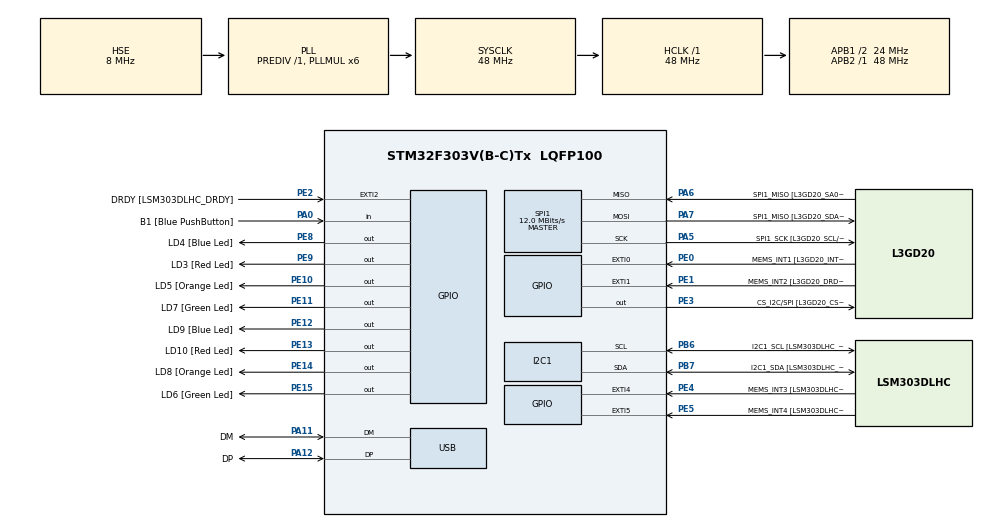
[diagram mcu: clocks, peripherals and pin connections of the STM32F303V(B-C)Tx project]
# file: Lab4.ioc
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I2C1.Timing=0x00201D2B
I2C1.Timing-I2C=0x2000090E
Mcu.Family=STM32F3
Mcu.Name=STM32F303V(B-C)Tx
Mcu.Package=LQFP100
NVIC.PriorityGroup=NVIC_PRIORITYGROUP_0
NVIC.TIM2_IRQn=true\:0\:0\:false\:false\:true\:true\:true\:true
PA0.GPIO_Label=B1 [Blue PushButton]
PA0.Signal=GPIO_Input
PA11.GPIO_Label=DM
PA11.Mode=Device
PA11.Signal=USB_DM
PA12.GPIO_Label=DP
PA12.Mode=Device
PA12.Signal=USB_DP
PA13.GPIO_Label=SWDIO
PA13.Mode=Serial_Wire
PA13.Signal=SYS_JTMS-SWDIO
PA14.GPIO_Label=SWCLK
PA14.Mode=Serial_Wire
PA14.Signal=SYS_JTCK-SWCLK
PA5.GPIO_Label=SPI1_SCK [L3GD20_SCL/SPC]
PA5.Mode=Full_Duplex_Master
PA5.Signal=SPI1_SCK
PA6.GPIO_Label=SPI1_MISO [L3GD20_SA0/SDO]
PA6.Mode=Full_Duplex_Master
PA6.Signal=SPI1_MISO
PA7.GPIO_Label=SPI1_MISO [L3GD20_SDA/SDI/SDO]
PA7.Mode=Full_Duplex_Master
PA7.Signal=SPI1_MOSI
PB3.GPIO_Label=SWO
PB3.Signal=SYS_JTDO-TRACESWO
PB6.GPIO_Label=I2C1_SCL [LSM303DLHC_SCL]
PB6.GPIO_Pu=GPIO_PULLUP
PB6.Mode=I2C
PB6.Signal=I2C1_SCL
PB7.GPIO_Label=I2C1_SDA [LSM303DLHC_SDA]
PB7.GPIO_Pu=GPIO_PULLUP
PB7.Mode=I2C
PB7.Signal=I2C1_SDA
PC14-OSC32_IN.GPIO_Label=OSC32_IN
PC14-OSC32_IN.Signal=RCC_OSC32_IN
PC15-OSC32_OUT.GPIO_Label=OSC32_OUT
PC15-OSC32_OUT.Signal=RCC_OSC32_OUT
PE0.GPIO_Label=MEMS_INT1 [L3GD20_INT1]
PE0.GPIO_ModeDefaultEXTI=GPIO_MODE_EVT_RISING
PE0.Signal=GPXTI0
PE1.GPIO_Label=MEMS_INT2 [L3GD20_DRDY/INT2]
PE1.GPIO_ModeDefaultEXTI=GPIO_MODE_EVT_RISING
PE1.Signal=GPXTI1
PE10.GPIO_Label=LD5 [Orange Led]
PE10.Signal=GPIO_Output
PE11.GPIO_Label=LD7 [Green Led]
PE11.Signal=GPIO_Output
PE12.GPIO_Label=LD9 [Blue Led]
PE12.Signal=GPIO_Output
PE13.GPIO_Label=LD10 [Red Led]
PE13.Signal=GPIO_Output
PE14.GPIO_Label=LD8 [Orange Led]
PE14.Signal=GPIO_Output
PE15.GPIO_Label=LD6 [Green Led]
PE15.Signal=GPIO_Output
PE2.GPIO_Label=DRDY [LSM303DLHC_DRDY]
PE2.GPIO_ModeDefaultEXTI=GPIO_MODE_EVT_RISING
PE2.Signal=GPXTI2
PE3.GPIO_Label=CS_I2C/SPI [L3GD20_CS_I2C/SPI]
PE3.Signal=GPIO_Output
PE4.GPIO_Label=MEMS_INT3 [LSM303DLHC_INT1]
PE4.GPIO_ModeDefaultEXTI=GPIO_MODE_EVT_RISING
PE4.Signal=GPXTI4
PE5.GPIO_Label=MEMS_INT4 [LSM303DLHC_INT2]
PE5.GPIO_ModeDefaultEXTI=GPIO_MODE_EVT_RISING
PE5.Signal=GPXTI5
PE8.GPIO_Label=LD4 [Blue Led]
PE8.Signal=GPIO_Output
PE9.GPIO_Label=LD3 [Red Led]
PE9.Signal=GPIO_Output
PF0-OSC_IN.GPIO_Label=OSC_IN
PF0-OSC_IN.Mode=HSE-External-Clock-Source
PF0-OSC_IN.Signal=RCC_OSC_IN
PF1-OSC_OUT.GPIO_Label=OSC_OUT
PF1-OSC_OUT.Signal=RCC_OSC_OUT
ProjectManager.HeapSize=0x200
ProjectManager.StackSize=0x400
ProjectManager.TargetToolchain=CMake
RCC.AHBFreq_Value=48000000
RCC.APB1CLKDivider=RCC_HCLK_DIV2
RCC.APB1Freq_Value=24000000
RCC.APB1TimFreq_Value=48000000
RCC.APB2Freq_Value=48000000
RCC.APB2TimFreq_Value=48000000
RCC.CortexFreq_Value=48000000
RCC.HCLKFreq_Value=48000000
RCC.HSE_VALUE=8000000
RCC.HSI_VALUE=8000000
RCC.LSE_VALUE=32768
RCC.PLLMUL=RCC_PLL_MUL6
RCC.SYSCLKFreq_VALUE=48000000
RCC.SYSCLKSourceVirtual=RCC_SYSCLKSOURCE_PLLCLK
RCC.USBFreq_Value=48000000
SPI1.BaudRatePrescaler=SPI_BAUDRATEPRESCALER_4
SPI1.BaudRatePrescaler-Full_Duplex_Master=SPI_BAUDRATEPRESCALER_2
SPI1.CalculateBaudRate=12.0 MBits/s
SPI1.CalculateBaudRate-Full_Duplex_Master=24.0 MBits/s
SPI1.Direction=SPI_DIRECTION_2LINES
SPI1.Mode=SPI_MODE_MASTER
SPI1.Mode-Full_Duplex_Master=SPI_MODE_MASTER
SPI1.VirtualType=VM_MASTER
TIM2.AutoReloadPreload=TIM_AUTORELOAD_PRELOAD_ENABLE
TIM2.Period=9
TIM2.Prescaler=4799
VP_TIM2_VS_ClockSourceINT.Mode=Internal
board=STM32F3DISCOVERY

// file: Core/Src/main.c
/* USER CODE BEGIN Header */
/**
  ******************************************************************************
  * @file           : main.c
  * @brief          : Main program body
  ******************************************************************************
  * @attention
  *
  * Copyright (c) 2026 STMicroelectronics.
  * All rights reserved.
  *
  * This software is licensed under terms that can be found in the LICENSE file
  * in the root directory of this software component.
  * If no LICENSE file comes with this software, it is provided AS-IS.
  *
  ******************************************************************************
  */
/* USER CODE END Header */
#include "main.h"

I2C_HandleTypeDef hi2c1;

SPI_HandleTypeDef hspi1;

TIM_HandleTypeDef htim2;

PCD_HandleTypeDef hpcd_USB_FS;

void SystemClock_Config(void);
static void MX_GPIO_Init(void);
static void MX_I2C1_Init(void);
static void MX_SPI1_Init(void);
static void MX_USB_PCD_Init(void);
static void MX_TIM2_Init(void);
/* USER CODE BEGIN PFP */
void delay_ms(uint32_t ms);

int countA = 0;
int countB = 0;
int countC = 0;

/* USER CODE END PFP */

/* USER CODE BEGIN 0 */

void HAL_TIM_PeriodElapsedCallback ( TIM_HandleTypeDef *htim) {
if (htim -> Instance == TIM2) {
  countA++;
  countB++;
  countC++;
  if (countA >= 500) {
      HAL_GPIO_TogglePin(GPIOE, LD6_Pin);
      countA = 0;
    }
  if (countB >= 200) {
      HAL_GPIO_TogglePin(GPIOE, LD8_Pin);
      countB = 0;
    }
  if (countC >= 100) {
      HAL_GPIO_TogglePin(GPIOE, LD10_Pin);
      countC = 0;
    }
  }
}

/* USER CODE END 0 */

int main(void)
{

  /* MCU Configuration--------------------------------------------------------*/

  /* Reset of all peripherals, Initializes the Flash interface and the Systick. */
  HAL_Init();

  /* Configure the system clock */
  SystemClock_Config();

  /* Initialize all configured peripherals */
  MX_GPIO_Init();
  MX_I2C1_Init();
  MX_SPI1_Init();
  MX_USB_PCD_Init();
  MX_TIM2_Init();
  /* USER CODE BEGIN 2 */
  HAL_TIM_Base_Start_IT(&htim2);
  /* USER CODE END 2 */

  /* Infinite loop */
  while (1)
  {

  }
}

void SystemClock_Config(void)
{
  RCC_OscInitTypeDef RCC_OscInitStruct = {0};
  RCC_ClkInitTypeDef RCC_ClkInitStruct = {0};
  RCC_PeriphCLKInitTypeDef PeriphClkInit = {0};

  /** Initializes the RCC Oscillators according to the specified parameters
  * in the RCC_OscInitTypeDef structure.
  */
  RCC_OscInitStruct.OscillatorType = RCC_OSCILLATORTYPE_HSI|RCC_OSCILLATORTYPE_HSE;
  RCC_OscInitStruct.HSEState = RCC_HSE_BYPASS;
  RCC_OscInitStruct.HSEPredivValue = RCC_HSE_PREDIV_DIV1;
  RCC_OscInitStruct.HSIState = RCC_HSI_ON;
  RCC_OscInitStruct.HSICalibrationValue = RCC_HSICALIBRATION_DEFAULT;
  RCC_OscInitStruct.PLL.PLLState = RCC_PLL_ON;
  RCC_OscInitStruct.PLL.PLLSource = RCC_PLLSOURCE_HSE;
  RCC_OscInitStruct.PLL.PLLMUL = RCC_PLL_MUL6;
  if (HAL_RCC_OscConfig(&RCC_OscInitStruct) != HAL_OK)
  {
    Error_Handler();
  }

  /** Initializes the CPU, AHB and APB buses clocks
  */
  RCC_ClkInitStruct.ClockType = RCC_CLOCKTYPE_HCLK|RCC_CLOCKTYPE_SYSCLK
                              |RCC_CLOCKTYPE_PCLK1|RCC_CLOCKTYPE_PCLK2;
  RCC_ClkInitStruct.SYSCLKSource = RCC_SYSCLKSOURCE_PLLCLK;
  RCC_ClkInitStruct.AHBCLKDivider = RCC_SYSCLK_DIV1;
  RCC_ClkInitStruct.APB1CLKDivider = RCC_HCLK_DIV2;
  RCC_ClkInitStruct.APB2CLKDivider = RCC_HCLK_DIV1;

  if (HAL_RCC_ClockConfig(&RCC_ClkInitStruct, FLASH_LATENCY_1) != HAL_OK)
  {
    Error_Handler();
  }
  PeriphClkInit.PeriphClockSelection = RCC_PERIPHCLK_USB|RCC_PERIPHCLK_I2C1;
  PeriphClkInit.I2c1ClockSelection = RCC_I2C1CLKSOURCE_HSI;
  PeriphClkInit.USBClockSelection = RCC_USBCLKSOURCE_PLL;
  if (HAL_RCCEx_PeriphCLKConfig(&PeriphClkInit) != HAL_OK)
  {
    Error_Handler();
  }
}

static void MX_I2C1_Init(void)
{

  hi2c1.Instance = I2C1;
  hi2c1.Init.Timing = 0x00201D2B;
  hi2c1.Init.OwnAddress1 = 0;
  hi2c1.Init.AddressingMode = I2C_ADDRESSINGMODE_7BIT;
  hi2c1.Init.DualAddressMode = I2C_DUALADDRESS_DISABLE;
  hi2c1.Init.OwnAddress2 = 0;
  hi2c1.Init.OwnAddress2Masks = I2C_OA2_NOMASK;
  hi2c1.Init.GeneralCallMode = I2C_GENERALCALL_DISABLE;
  hi2c1.Init.NoStretchMode = I2C_NOSTRETCH_DISABLE;
  if (HAL_I2C_Init(&hi2c1) != HAL_OK)
  {
    Error_Handler();
  }

  /** Configure Analogue filter
  */
  if (HAL_I2CEx_ConfigAnalogFilter(&hi2c1, I2C_ANALOGFILTER_ENABLE) != HAL_OK)
  {
    Error_Handler();
  }

  /** Configure Digital filter
  */
  if (HAL_I2CEx_ConfigDigitalFilter(&hi2c1, 0) != HAL_OK)
  {
    Error_Handler();
  }

}

static void MX_SPI1_Init(void)
{

  /* SPI1 parameter configuration*/
  hspi1.Instance = SPI1;
  hspi1.Init.Mode = SPI_MODE_MASTER;
  hspi1.Init.Direction = SPI_DIRECTION_2LINES;
  hspi1.Init.DataSize = SPI_DATASIZE_4BIT;
  hspi1.Init.CLKPolarity = SPI_POLARITY_LOW;
  hspi1.Init.CLKPhase = SPI_PHASE_1EDGE;
  hspi1.Init.NSS = SPI_NSS_SOFT;
  hspi1.Init.BaudRatePrescaler = SPI_BAUDRATEPRESCALER_4;
  hspi1.Init.FirstBit = SPI_FIRSTBIT_MSB;
  hspi1.Init.TIMode = SPI_TIMODE_DISABLE;
  hspi1.Init.CRCCalculation = SPI_CRCCALCULATION_DISABLE;
  hspi1.Init.CRCPolynomial = 7;
  hspi1.Init.CRCLength = SPI_CRC_LENGTH_DATASIZE;
  hspi1.Init.NSSPMode = SPI_NSS_PULSE_ENABLE;
  if (HAL_SPI_Init(&hspi1) != HAL_OK)
  {
    Error_Handler();
  }

}

static void MX_TIM2_Init(void)
{

  TIM_ClockConfigTypeDef sClockSourceConfig = {0};
  TIM_MasterConfigTypeDef sMasterConfig = {0};

  htim2.Instance = TIM2;
  htim2.Init.Prescaler = 4799;
  htim2.Init.CounterMode = TIM_COUNTERMODE_UP;
  htim2.Init.Period = 9;
  htim2.Init.ClockDivision = TIM_CLOCKDIVISION_DIV1;
  htim2.Init.AutoReloadPreload = TIM_AUTORELOAD_PRELOAD_ENABLE;
  if (HAL_TIM_Base_Init(&htim2) != HAL_OK)
  {
    Error_Handler();
  }
  sClockSourceConfig.ClockSource = TIM_CLOCKSOURCE_INTERNAL;
  if (HAL_TIM_ConfigClockSource(&htim2, &sClockSourceConfig) != HAL_OK)
  {
    Error_Handler();
  }
  sMasterConfig.MasterOutputTrigger = TIM_TRGO_RESET;
  sMasterConfig.MasterSlaveMode = TIM_MASTERSLAVEMODE_DISABLE;
  if (HAL_TIMEx_MasterConfigSynchronization(&htim2, &sMasterConfig) != HAL_OK)
  {
    Error_Handler();
  }

}

static void MX_USB_PCD_Init(void)
{

  hpcd_USB_FS.Instance = USB;
  hpcd_USB_FS.Init.dev_endpoints = 8;
  hpcd_USB_FS.Init.speed = PCD_SPEED_FULL;
  hpcd_USB_FS.Init.phy_itface = PCD_PHY_EMBEDDED;
  hpcd_USB_FS.Init.low_power_enable = DISABLE;
  hpcd_USB_FS.Init.battery_charging_enable = DISABLE;
  if (HAL_PCD_Init(&hpcd_USB_FS) != HAL_OK)
  {
    Error_Handler();
  }

}

static void MX_GPIO_Init(void)
{
  GPIO_InitTypeDef GPIO_InitStruct = {0};

  /* GPIO Ports Clock Enable */
  __HAL_RCC_GPIOE_CLK_ENABLE();
  __HAL_RCC_GPIOC_CLK_ENABLE();
  __HAL_RCC_GPIOF_CLK_ENABLE();
  __HAL_RCC_GPIOA_CLK_ENABLE();
  __HAL_RCC_GPIOB_CLK_ENABLE();

  /*Configure GPIO pin Output Level */
  HAL_GPIO_WritePin(GPIOE, CS_I2C_SPI_Pin|LD4_Pin|LD3_Pin|LD5_Pin
                          |LD7_Pin|LD9_Pin|LD10_Pin|LD8_Pin
                          |LD6_Pin, GPIO_PIN_RESET);

  /*Configure GPIO pins : DRDY_Pin MEMS_INT3_Pin MEMS_INT4_Pin MEMS_INT1_Pin
                           MEMS_INT2_Pin */
  GPIO_InitStruct.Pin = DRDY_Pin|MEMS_INT3_Pin|MEMS_INT4_Pin|MEMS_INT1_Pin
                          |MEMS_INT2_Pin;
  GPIO_InitStruct.Mode = GPIO_MODE_EVT_RISING;
  GPIO_InitStruct.Pull = GPIO_NOPULL;
  HAL_GPIO_Init(GPIOE, &GPIO_InitStruct);

  /*Configure GPIO pins : CS_I2C_SPI_Pin LD4_Pin LD3_Pin LD5_Pin
                           LD7_Pin LD9_Pin LD10_Pin LD8_Pin
                           LD6_Pin */
  GPIO_InitStruct.Pin = CS_I2C_SPI_Pin|LD4_Pin|LD3_Pin|LD5_Pin
                          |LD7_Pin|LD9_Pin|LD10_Pin|LD8_Pin
                          |LD6_Pin;
  GPIO_InitStruct.Mode = GPIO_MODE_OUTPUT_PP;
  GPIO_InitStruct.Pull = GPIO_NOPULL;
  GPIO_InitStruct.Speed = GPIO_SPEED_FREQ_LOW;
  HAL_GPIO_Init(GPIOE, &GPIO_InitStruct);

  /*Configure GPIO pin : B1_Pin */
  GPIO_InitStruct.Pin = B1_Pin;
  GPIO_InitStruct.Mode = GPIO_MODE_INPUT;
  GPIO_InitStruct.Pull = GPIO_NOPULL;
  HAL_GPIO_Init(B1_GPIO_Port, &GPIO_InitStruct);

}

void Error_Handler(void)
{
  __disable_irq();
  while (1)
  {
  }
}
